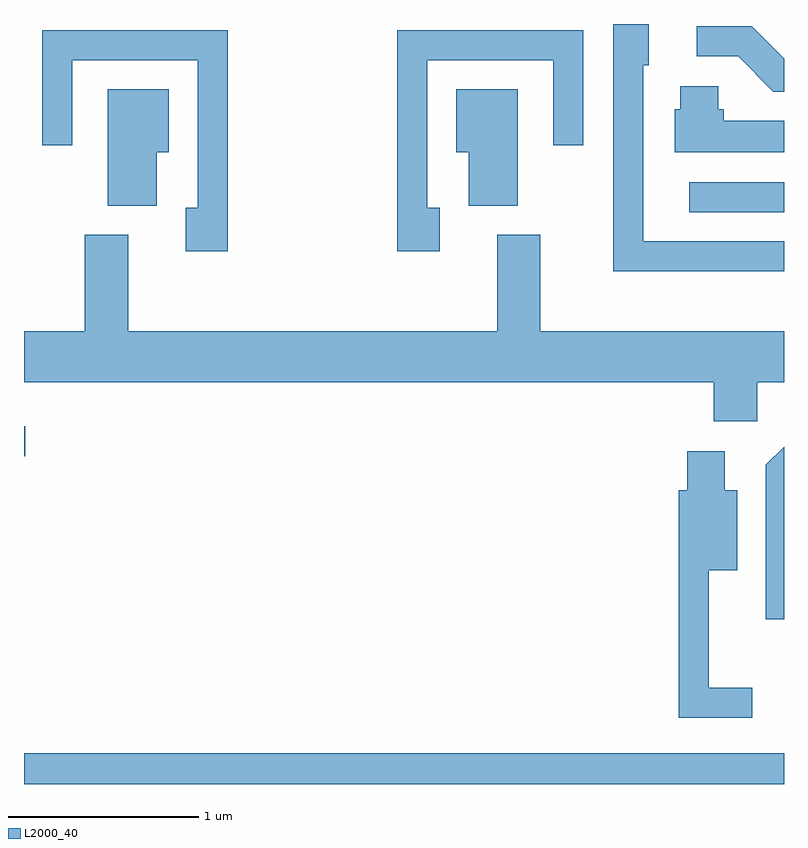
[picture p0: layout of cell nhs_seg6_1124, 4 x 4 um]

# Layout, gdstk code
import gdstk
lib = gdstk.Library(unit=1e-6, precision=1e-09)
def R(c, l, rs):  # rectangles x0, y0, x1, y1
    for r in rs: c.add(gdstk.rectangle(r[:2], r[2:], *l))
def P(c, l, *ps):  # polygons
    for p in ps: c.add(gdstk.Polygon(p, *l))
L2000_40 = (2000, 40)

nhs_seg6_1124 = lib.new_cell('nhs_seg6_1124')
R(nhs_seg6_1124, L2000_40, [(219.611,1530.162,223.611,1530.324), (219.611,1531.886,219.618,1532.044), (223.113,1533.171,223.611,1533.329)])
P(nhs_seg6_1124, L2000_40, [(223.611,1533.019),(222.869,1533.019),(222.869,1533.946),(222.899,1533.946),(222.899,1534.162),(222.711,1534.162),(222.711,1532.861),(223.611,1532.861)],
  [(223.611,1533.98),(223.442,1534.149),(223.153,1534.149),(223.153,1533.991),(223.369,1533.991),(223.554,1533.806),(223.611,1533.806)],
  [(220.684,1534.129),(219.706,1534.129),(219.706,1533.523),(219.864,1533.523),(219.864,1533.971),(220.526,1533.971),(220.526,1533.194),(220.461,1533.194),(220.461,1532.966),(220.684,1532.966)],
  [(221.799,1533.194),(221.734,1533.194),(221.734,1533.971),(222.396,1533.971),(222.396,1533.523),(222.554,1533.523),(222.554,1534.129),(221.576,1534.129),(221.576,1532.966),(221.799,1532.966)],
  [(223.611,1533.654),(223.294,1533.654),(223.294,1533.714),(223.264,1533.714),(223.264,1533.834),(223.066,1533.834),(223.066,1533.714),(223.036,1533.714),(223.036,1533.486),(223.611,1533.486)],
  [(220.309,1533.486),(220.374,1533.486),(220.374,1533.819),(220.051,1533.819),(220.051,1533.206),(220.309,1533.206)],
  [(222.209,1533.819),(221.886,1533.819),(221.886,1533.486),(221.951,1533.486),(221.951,1533.206),(222.209,1533.206)],
  [(223.469,1532.276),(223.611,1532.276),(223.611,1532.544),(222.329,1532.544),(222.329,1533.054),(222.101,1533.054),(222.101,1532.544),(220.159,1532.544),(220.159,1533.054),(219.931,1533.054),(219.931,1532.544),(219.611,1532.544),(219.611,1532.276),(223.241,1532.276),(223.241,1532.071),(223.469,1532.071)],
  [(223.611,1531.937),(223.516,1531.842),(223.516,1531.028),(223.611,1531.028)],
  [(223.443,1530.669),(223.214,1530.669),(223.214,1531.286),(223.364,1531.286),(223.364,1531.709),(223.299,1531.709),(223.299,1531.914),(223.101,1531.914),(223.101,1531.709),(223.056,1531.709),(223.056,1530.511),(223.443,1530.511)])

lib.write_gds('nhs_seg6_1124.gds')
